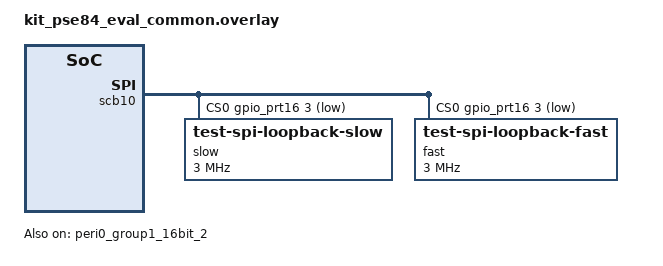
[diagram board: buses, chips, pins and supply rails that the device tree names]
/*
 * Copyright (c) 2025 Infineon Technologies AG,
 * or an affiliate of Infineon Technologies AG.
 *
 * SPDX-License-Identifier: Apache-2.0
 */

spi1: &scb10 {
	#address-cells = <1>;
	#size-cells = <0>;
	compatible = "infineon,cat1-spi-pdl";
	status = "okay";

	pinctrl-0 = <&p16_1_scb10_spi_m_mosi &p16_2_scb10_spi_m_miso &p16_0_scb10_spi_m_clk>;
	pinctrl-names = "default";
	cs-gpios = <&gpio_prt16 3 GPIO_ACTIVE_LOW>;

	clocks = <&peri0_group1_16bit_2>;

	slow@0 {
		compatible = "test-spi-loopback-slow";
		reg = <0>;
		spi-max-frequency = <3000000>;
	};

	fast@0 {
		compatible = "test-spi-loopback-fast";
		reg = <0>;
		spi-max-frequency = <3000000>;
	};
};

&peri0_group1_16bit_2 {
	status = "okay";
	resource-type = <IFX_RSC_SCB>;
	resource-instance = <10>;
};

&p16_1_scb10_spi_m_mosi {
	drive-strength = "full";
	drive-push-pull;
};

&p16_2_scb10_spi_m_miso {
	drive-strength = "full";
	input-enable;
};

&p16_0_scb10_spi_m_clk {
	drive-strength = "full";
	drive-push-pull;
};
